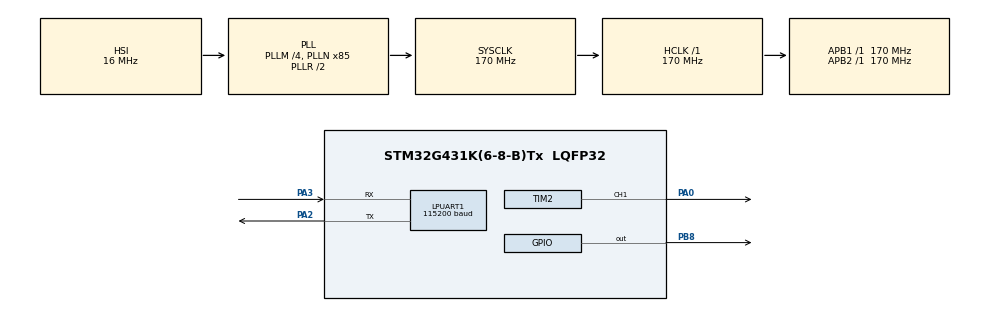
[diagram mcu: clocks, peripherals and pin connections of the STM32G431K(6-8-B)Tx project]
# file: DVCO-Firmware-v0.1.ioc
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LPUART1.BaudRate=115200
Mcu.Family=STM32G4
Mcu.Name=STM32G431K(6-8-B)Tx
Mcu.Package=LQFP32
NUCLEO-G431KB.LD2=true
NUCLEO-G431KB.VCP=false
NVIC.LPUART1_IRQn=true\:2\:0\:true\:false\:true\:true\:true\:true
NVIC.PriorityGroup=NVIC_PRIORITYGROUP_4
NVIC.TIM6_DAC_IRQn=true\:1\:0\:true\:false\:true\:true\:true\:true
PA0.Signal=S_TIM2_CH1
PA13.GPIO_Label=T_SWDIO
PA13.Mode=Serial_Wire
PA13.Signal=SYS_JTMS-SWDIO
PA14.GPIO_Label=T_SWCLK
PA14.Mode=Serial_Wire
PA14.Signal=SYS_JTCK-SWCLK
PA2.Mode=Asynchronous
PA2.Signal=LPUART1_TX
PA3.Mode=Asynchronous
PA3.Signal=LPUART1_RX
PB3.GPIO_Label=T_SWO
PB3.Signal=SYS_JTDO-SWO
PB8-BOOT0.Signal=GPIO_Output
ProjectManager.HeapSize=0x200
ProjectManager.StackSize=0x400
ProjectManager.TargetToolchain=STM32CubeIDE
RCC.ADC12Freq_Value=170000000
RCC.AHBFreq_Value=170000000
RCC.APB1Freq_Value=170000000
RCC.APB1TimFreq_Value=170000000
RCC.APB2Freq_Value=170000000
RCC.APB2TimFreq_Value=170000000
RCC.CortexFreq_Value=170000000
RCC.EXTERNAL_CLOCK_VALUE=12288000
RCC.HCLKFreq_Value=170000000
RCC.HSE_VALUE=8000000
RCC.HSI48_VALUE=48000000
RCC.HSI_VALUE=16000000
RCC.LSE_VALUE=32768
RCC.PLLM=RCC_PLLM_DIV4
RCC.PLLN=85
RCC.SYSCLKFreq_VALUE=170000000
RCC.SYSCLKSource=RCC_SYSCLKSOURCE_PLLCLK
RCC.USBFreq_Value=170000000
RCC.VCOOutputFreq_Value=340000000
SH.S_TIM2_CH1.0=TIM2_CH1,PWM Generation1 CH1
TIM2.AutoReloadPreload=TIM_AUTORELOAD_PRELOAD_ENABLE
TIM2.Channel-PWM\ Generation1\ CH1=TIM_CHANNEL_1
TIM2.PeriodNoDither=999
TIM2.PulseNoDither_1=499
TIM6.AutoReloadPreload=TIM_AUTORELOAD_PRELOAD_ENABLE
TIM6.PeriodNoDither=3999
VP_NUCLEO-G431KB_VS_BSP_COMMON.Mode=COMMON
VP_SYS_VS_DBSignals.Mode=DisableDeadBatterySignals
VP_TIM2_VS_ClockSourceINT.Mode=Internal
VP_TIM6_VS_ClockSourceINT.Mode=Enable_Timer
board=NUCLEO-G431KB

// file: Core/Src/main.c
/* USER CODE BEGIN Header */
/**
  ******************************************************************************
  * @file           : main.c
  * @brief          : Main program body
  ******************************************************************************
  * @attention
  *
  * Copyright (c) 2026 STMicroelectronics.
  * All rights reserved.
  *
  * This software is licensed under terms that can be found in the LICENSE file
  * in the root directory of this software component.
  * If no LICENSE file comes with this software, it is provided AS-IS.
  *
  ******************************************************************************
  */
/* USER CODE END Header */
#include "main.h"

/* USER CODE BEGIN Includes */
#include "osc.h"
#include <string.h>
/* USER CODE END Includes */

/* USER CODE BEGIN PD */
#define FRAME_PERIOD_TICKS (SAMPLE_RATE_HZ / FRAME_RATE_HZ)
#define LED_PERIOD_TICKS   (SAMPLE_RATE_HZ / 2U)   /* 0.5 s -> 1 Hz blink */
/* USER CODE END PD */

UART_HandleTypeDef hlpuart1;

TIM_HandleTypeDef htim2;
TIM_HandleTypeDef htim6;

/* USER CODE BEGIN PV */
static osc_t osc;

/* Scope capture. Ping-pong buffers so the audio ISR never writes the buffer
 * the main loop is busy formatting. */
static uint16_t cap_buf[2][FRAME_SAMPLES];
static volatile uint8_t  cap_wr      = 0;   /* buffer the ISR fills        */
static volatile uint8_t  cap_ready   = 0;   /* a full frame is waiting     */
static volatile uint8_t  cap_ready_b = 0;   /* which buffer holds it       */
static volatile uint16_t cap_idx     = 0;
static volatile uint8_t  cap_state   = 0;   /* 0 idle, 1 armed, 2 running  */
static volatile uint32_t tick        = 0;

/* VCP transmit / receive */
static char txbuf[FRAME_SAMPLES * 5U + 64U];
static volatile uint8_t tx_busy = 0;
static uint8_t rx_byte;
static char    rx_line[32];
static uint8_t rx_len = 0;
static volatile uint8_t line_ready = 0;
static char    line_buf[32];
/* USER CODE END PV */

void SystemClock_Config(void);
static void MX_GPIO_Init(void);
static void MX_TIM2_Init(void);
static void MX_TIM6_Init(void);
static void MX_LPUART1_UART_Init(void);
/* USER CODE BEGIN PFP */
static void vcp_send(const char *s);
static void send_state(void);
static void handle_line(const char *s);
/* USER CODE END PFP */

/* USER CODE BEGIN 0 */
/* Blocking only while a previous transmit drains — never called from the
 * audio ISR, so this cannot stall the oscillator. */
static void vcp_send(const char *s)
{
  while (tx_busy) { }
  size_t n = strlen(s);
  if (n >= sizeof(txbuf)) n = sizeof(txbuf) - 1U;
  memcpy(txbuf, s, n);
  tx_busy = 1;
  HAL_UART_Transmit_IT(&hlpuart1, (uint8_t *)txbuf, (uint16_t)n);
}

static uint32_t parse_uint(const char *s)
{
  uint32_t v = 0;
  while (*s >= '0' && *s <= '9') { v = v * 10U + (uint32_t)(*s - '0'); s++; }
  return v;
}

static const char *wave_name(uint8_t w)
{
  switch (w) {
    case WAVE_SINE:   return "sine";
    case WAVE_SAW:    return "saw";
    case WAVE_SQUARE: return "square";
    case WAVE_TRI:    return "tri";
    default:          return "?";
  }
}

/* "S <freq> <waveidx> <name> <amp> <samplerate> <outmax>"
 * tools/scope.py parses this positionally — keep the field order stable. */
static void send_state(void)
{
  char b[80];
  char *p = b;
  const char *w = wave_name(osc.wave);
  uint32_t f = osc_get_freq(&osc);

  *p++ = 'S'; *p++ = ' ';
  { char t[12]; int8_t i = 0; if (!f) t[i++] = '0';
    while (f) { t[i++] = (char)('0' + f % 10U); f /= 10U; }
    while (i) *p++ = t[--i]; }
  *p++ = ' '; *p++ = (char)('0' + osc.wave); *p++ = ' ';
  while (*w) *p++ = *w++;
  *p++ = ' ';
  { uint32_t a = osc.amp_pct; char t[6]; int8_t i = 0; if (!a) t[i++] = '0';
    while (a) { t[i++] = (char)('0' + a % 10U); a /= 10U; }
    while (i) *p++ = t[--i]; }
  *p++ = ' ';
  { uint32_t sr = SAMPLE_RATE_HZ; char t[12]; int8_t i = 0;
    while (sr) { t[i++] = (char)('0' + sr % 10U); sr /= 10U; }
    while (i) *p++ = t[--i]; }
  *p++ = ' ';
  { uint32_t om = PWM_ARR; char t[8]; int8_t i = 0; if (!om) t[i++] = '0';
    while (om) { t[i++] = (char)('0' + om % 10U); om /= 10U; }
    while (i) *p++ = t[--i]; }
  *p++ = '\r'; *p++ = '\n'; *p = '\0';
  vcp_send(b);
}

/* One command per line: f<hz>  w<0-3>  a<0-100>  ? */
static void handle_line(const char *s)
{
  switch (s[0]) {
    case 'f': osc_set_freq(&osc, parse_uint(s + 1)); break;
    case 'w': { uint32_t w = parse_uint(s + 1);
                if (w < WAVE_COUNT) osc_set_wave(&osc, (uint8_t)w); } break;
    case 'a': osc_set_amp(&osc, (uint8_t)parse_uint(s + 1)); break;
    case '?': break;
    default:  vcp_send("# ? unknown cmd\r\n"); return;
  }
  send_state();
}
/* USER CODE END 0 */

int main(void)
{

  /* MCU Configuration--------------------------------------------------------*/

  /* Reset of all peripherals, Initializes the Flash interface and the Systick. */
  HAL_Init();

  /* Configure the system clock */
  SystemClock_Config();

  /* Initialize all configured peripherals */
  MX_GPIO_Init();
  MX_TIM2_Init();
  MX_TIM6_Init();
  MX_LPUART1_UART_Init();
  /* USER CODE BEGIN 2 */

  osc_init(&osc, SAMPLE_RATE_HZ, PWM_ARR);

  HAL_TIM_PWM_Start(&htim2, VCO_PWM_CHANNEL);
  HAL_UART_Receive_IT(&hlpuart1, &rx_byte, 1);
  HAL_TIM_Base_Start_IT(&htim6);   /* starts the 42.5 kHz audio tick */

  vcp_send("\r\n# VCO firmware up. NUCLEO-G431KB, 42500 Hz, PWM 170 kHz on PA0.\r\n");
  send_state();
  /* USER CODE END 2 */

  /* Initialize leds */
  BSP_LED_Init(LED_GREEN);

  /* Infinite loop */
  while (1)
  {

    /* USER CODE BEGIN 3 */

    if (line_ready) {
      line_ready = 0;
      handle_line(line_buf);
    }

    if (cap_ready && !tx_busy) {
      uint8_t b = cap_ready_b;
      cap_ready = 0;

      /* Hand-rolled formatting: snprintf per sample is far too slow and
       * drags a large chunk of newlib into flash. "W <n> s0 s1 ... sn-1". */
      char *p = txbuf;
      *p++ = 'W'; *p++ = ' ';
      uint16_t n = FRAME_SAMPLES;
      if (n >= 100) { *p++ = (char)('0' + n / 100); }
      if (n >= 10)  { *p++ = (char)('0' + (n / 10) % 10); }
      *p++ = (char)('0' + n % 10);

      for (uint16_t i = 0; i < FRAME_SAMPLES; i++) {
        uint16_t v = cap_buf[b][i];
        *p++ = ' ';
        if (v >= 100) *p++ = (char)('0' + v / 100);
        if (v >= 10)  *p++ = (char)('0' + (v / 10) % 10);
        *p++ = (char)('0' + v % 10);
      }
      *p++ = '\r'; *p++ = '\n';

      tx_busy = 1;
      HAL_UART_Transmit_IT(&hlpuart1, (uint8_t *)txbuf, (uint16_t)(p - txbuf));
    }
  }
  /* USER CODE END 3 */
}

void SystemClock_Config(void)
{
  RCC_OscInitTypeDef RCC_OscInitStruct = {0};
  RCC_ClkInitTypeDef RCC_ClkInitStruct = {0};

  /** Configure the main internal regulator output voltage
  */
  HAL_PWREx_ControlVoltageScaling(PWR_REGULATOR_VOLTAGE_SCALE1_BOOST);

  /** Initializes the RCC Oscillators according to the specified parameters
  * in the RCC_OscInitTypeDef structure.
  */
  RCC_OscInitStruct.OscillatorType = RCC_OSCILLATORTYPE_HSI;
  RCC_OscInitStruct.HSIState = RCC_HSI_ON;
  RCC_OscInitStruct.HSICalibrationValue = RCC_HSICALIBRATION_DEFAULT;
  RCC_OscInitStruct.PLL.PLLState = RCC_PLL_ON;
  RCC_OscInitStruct.PLL.PLLSource = RCC_PLLSOURCE_HSI;
  RCC_OscInitStruct.PLL.PLLM = RCC_PLLM_DIV4;
  RCC_OscInitStruct.PLL.PLLN = 85;
  RCC_OscInitStruct.PLL.PLLP = RCC_PLLP_DIV2;
  RCC_OscInitStruct.PLL.PLLQ = RCC_PLLQ_DIV2;
  RCC_OscInitStruct.PLL.PLLR = RCC_PLLR_DIV2;
  if (HAL_RCC_OscConfig(&RCC_OscInitStruct) != HAL_OK)
  {
    Error_Handler();
  }

  /** Initializes the CPU, AHB and APB buses clocks
  */
  RCC_ClkInitStruct.ClockType = RCC_CLOCKTYPE_HCLK|RCC_CLOCKTYPE_SYSCLK
                              |RCC_CLOCKTYPE_PCLK1|RCC_CLOCKTYPE_PCLK2;
  RCC_ClkInitStruct.SYSCLKSource = RCC_SYSCLKSOURCE_PLLCLK;
  RCC_ClkInitStruct.AHBCLKDivider = RCC_SYSCLK_DIV1;
  RCC_ClkInitStruct.APB1CLKDivider = RCC_HCLK_DIV1;
  RCC_ClkInitStruct.APB2CLKDivider = RCC_HCLK_DIV1;

  if (HAL_RCC_ClockConfig(&RCC_ClkInitStruct, FLASH_LATENCY_4) != HAL_OK)
  {
    Error_Handler();
  }
}

static void MX_LPUART1_UART_Init(void)
{

  hlpuart1.Instance = LPUART1;
  hlpuart1.Init.BaudRate = 115200;
  hlpuart1.Init.WordLength = UART_WORDLENGTH_8B;
  hlpuart1.Init.StopBits = UART_STOPBITS_1;
  hlpuart1.Init.Parity = UART_PARITY_NONE;
  hlpuart1.Init.Mode = UART_MODE_TX_RX;
  hlpuart1.Init.HwFlowCtl = UART_HWCONTROL_NONE;
  hlpuart1.Init.OneBitSampling = UART_ONE_BIT_SAMPLE_DISABLE;
  hlpuart1.Init.ClockPrescaler = UART_PRESCALER_DIV1;
  hlpuart1.AdvancedInit.AdvFeatureInit = UART_ADVFEATURE_NO_INIT;
  if (HAL_UART_Init(&hlpuart1) != HAL_OK)
  {
    Error_Handler();
  }
  if (HAL_UARTEx_SetTxFifoThreshold(&hlpuart1, UART_TXFIFO_THRESHOLD_1_8) != HAL_OK)
  {
    Error_Handler();
  }
  if (HAL_UARTEx_SetRxFifoThreshold(&hlpuart1, UART_RXFIFO_THRESHOLD_1_8) != HAL_OK)
  {
    Error_Handler();
  }
  if (HAL_UARTEx_DisableFifoMode(&hlpuart1) != HAL_OK)
  {
    Error_Handler();
  }

}

static void MX_TIM2_Init(void)
{

  TIM_ClockConfigTypeDef sClockSourceConfig = {0};
  TIM_MasterConfigTypeDef sMasterConfig = {0};
  TIM_OC_InitTypeDef sConfigOC = {0};

  htim2.Instance = TIM2;
  htim2.Init.Prescaler = 0;
  htim2.Init.CounterMode = TIM_COUNTERMODE_UP;
  htim2.Init.Period = 999;
  htim2.Init.ClockDivision = TIM_CLOCKDIVISION_DIV1;
  htim2.Init.AutoReloadPreload = TIM_AUTORELOAD_PRELOAD_ENABLE;
  if (HAL_TIM_Base_Init(&htim2) != HAL_OK)
  {
    Error_Handler();
  }
  sClockSourceConfig.ClockSource = TIM_CLOCKSOURCE_INTERNAL;
  if (HAL_TIM_ConfigClockSource(&htim2, &sClockSourceConfig) != HAL_OK)
  {
    Error_Handler();
  }
  if (HAL_TIM_PWM_Init(&htim2) != HAL_OK)
  {
    Error_Handler();
  }
  sMasterConfig.MasterOutputTrigger = TIM_TRGO_RESET;
  sMasterConfig.MasterSlaveMode = TIM_MASTERSLAVEMODE_DISABLE;
  if (HAL_TIMEx_MasterConfigSynchronization(&htim2, &sMasterConfig) != HAL_OK)
  {
    Error_Handler();
  }
  sConfigOC.OCMode = TIM_OCMODE_PWM1;
  sConfigOC.Pulse = 499;
  sConfigOC.OCPolarity = TIM_OCPOLARITY_HIGH;
  sConfigOC.OCFastMode = TIM_OCFAST_DISABLE;
  if (HAL_TIM_PWM_ConfigChannel(&htim2, &sConfigOC, TIM_CHANNEL_1) != HAL_OK)
  {
    Error_Handler();
  }
  HAL_TIM_MspPostInit(&htim2);

}

static void MX_TIM6_Init(void)
{

  TIM_MasterConfigTypeDef sMasterConfig = {0};

  htim6.Instance = TIM6;
  htim6.Init.Prescaler = 0;
  htim6.Init.CounterMode = TIM_COUNTERMODE_UP;
  htim6.Init.Period = 3999;
  htim6.Init.AutoReloadPreload = TIM_AUTORELOAD_PRELOAD_ENABLE;
  if (HAL_TIM_Base_Init(&htim6) != HAL_OK)
  {
    Error_Handler();
  }
  sMasterConfig.MasterOutputTrigger = TIM_TRGO_RESET;
  sMasterConfig.MasterSlaveMode = TIM_MASTERSLAVEMODE_DISABLE;
  if (HAL_TIMEx_MasterConfigSynchronization(&htim6, &sMasterConfig) != HAL_OK)
  {
    Error_Handler();
  }

}

static void MX_GPIO_Init(void)
{
  GPIO_InitTypeDef GPIO_InitStruct = {0};

  /* GPIO Ports Clock Enable */
  __HAL_RCC_GPIOA_CLK_ENABLE();
  __HAL_RCC_GPIOB_CLK_ENABLE();

  /*Configure GPIO pin Output Level */
  HAL_GPIO_WritePin(GPIOB, GPIO_PIN_8, GPIO_PIN_RESET);

  /*Configure GPIO pin : PB8 */
  GPIO_InitStruct.Pin = GPIO_PIN_8;
  GPIO_InitStruct.Mode = GPIO_MODE_OUTPUT_PP;
  GPIO_InitStruct.Pull = GPIO_NOPULL;
  GPIO_InitStruct.Speed = GPIO_SPEED_FREQ_LOW;
  HAL_GPIO_Init(GPIOB, &GPIO_InitStruct);

}

/* USER CODE BEGIN 4 */
/* ---- audio ISR: fires at SAMPLE_RATE_HZ from TIM6 ---------------------- */
void HAL_TIM_PeriodElapsedCallback(TIM_HandleTypeDef *htim)
{
  if (htim->Instance != TIM6) return;

  uint16_t sample = osc_next(&osc);
  __HAL_TIM_SET_COMPARE(&htim2, VCO_PWM_CHANNEL, sample);

  tick++;
  if ((tick % LED_PERIOD_TICKS) == 0U) {
    HAL_GPIO_TogglePin(LD2_GPIO_PORT, LD2_PIN);
  }
  /* Arm a capture on the frame interval, but only actually start it on the
   * next phase wrap — that trigger is what makes the host-side trace stand
   * still instead of sliding across the screen. */
  if ((tick % FRAME_PERIOD_TICKS) == 0U && cap_state == 0U && !cap_ready) {
    cap_state = 1;
  }
  if (cap_state == 1U && osc.wrapped) {
    cap_state = 2;
    cap_idx = 0;
  }
  if (cap_state == 2U) {
    cap_buf[cap_wr][cap_idx++] = sample;
    if (cap_idx >= FRAME_SAMPLES) {
      cap_state   = 0;
      cap_ready_b = cap_wr;
      cap_ready   = 1;
      cap_wr     ^= 1U;
    }
  }
}

/* ---- VCP callbacks ----------------------------------------------------- */
void HAL_UART_TxCpltCallback(UART_HandleTypeDef *huart)
{
  if (huart->Instance == LPUART1) tx_busy = 0;
}

void HAL_UART_RxCpltCallback(UART_HandleTypeDef *huart)
{
  if (huart->Instance != LPUART1) return;
  char ch = (char)rx_byte;
  if (ch == '\n' || ch == '\r') {
    if (rx_len > 0U && !line_ready) {
      rx_line[rx_len] = '\0';
      memcpy(line_buf, rx_line, rx_len + 1U);
      line_ready = 1;
    }
    rx_len = 0;
  } else if (rx_len < sizeof(rx_line) - 1U) {
    rx_line[rx_len++] = ch;
  }
  HAL_UART_Receive_IT(&hlpuart1, &rx_byte, 1);
}
/* USER CODE END 4 */

/* USER CODE BEGIN Header */
/**
  ******************************************************************************
  * File Name          :
  * Description        :
  ******************************************************************************
  * @attention
  *
  * Copyright (c) 2026 STMicroelectronics.
  * All rights reserved.
  *
  * This software is licensed under terms that can be found in the LICENSE file
  * in the root directory of this software component.
  * If no LICENSE file comes with this software, it is provided AS-IS.
  *
  ******************************************************************************
  */
/* USER CODE END Header */

void Error_Handler(void)
{
  __disable_irq();
  while (1)
  {
  }
}
